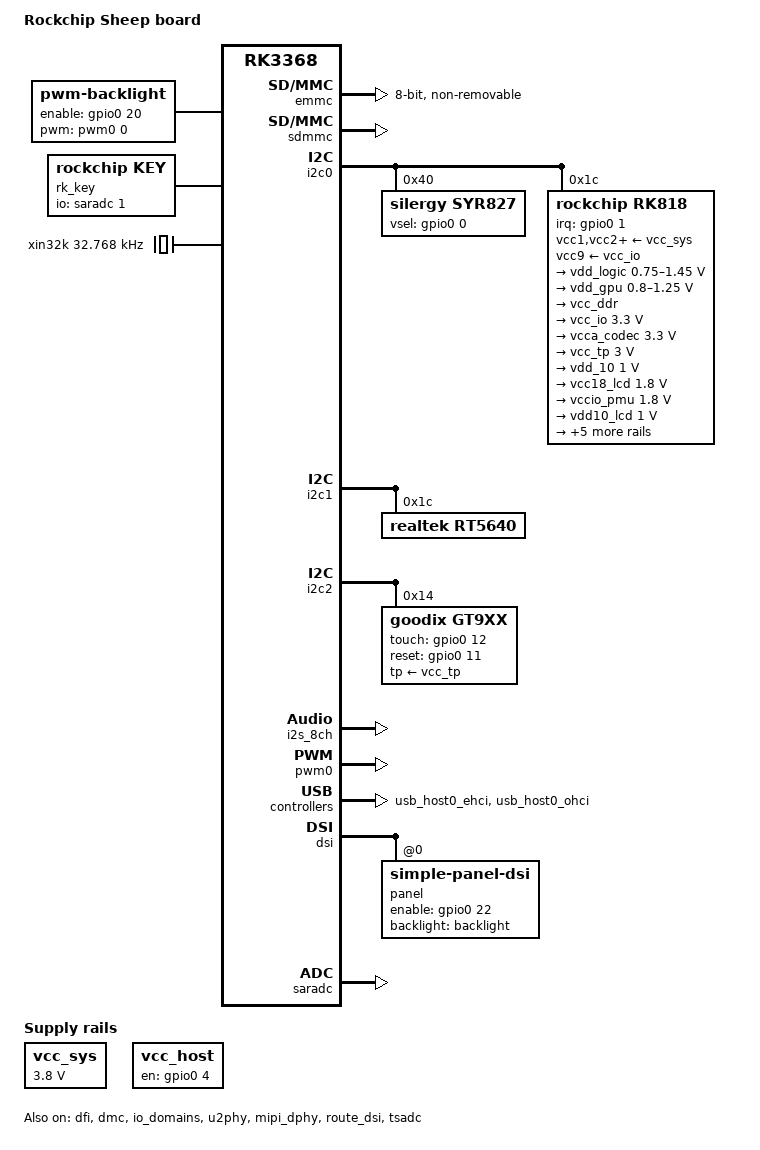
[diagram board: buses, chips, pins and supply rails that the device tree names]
/*
 * Copyright (c) 2017 Fuzhou Rockchip Electronics Co., Ltd
 *
 * This file is dual-licensed: you can use it either under the terms
 * of the GPL or the X11 license, at your option. Note that this dual
 * licensing only applies to this file, and not this project as a
 * whole.
 *
 *  a) This file is free software; you can redistribute it and/or
 *     modify it under the terms of the GNU General Public License as
 *     published by the Free Software Foundation; either version 2 of the
 *     License, or (at your option) any later version.
 *
 *     This file is distributed in the hope that it will be useful,
 *     but WITHOUT ANY WARRANTY; without even the implied warranty of
 *     MERCHANTABILITY or FITNESS FOR A PARTICULAR PURPOSE.  See the
 *     GNU General Public License for more details.
 *
 * Or, alternatively,
 *
 *  b) Permission is hereby granted, free of charge, to any person
 *     obtaining a copy of this software and associated documentation
 *     files (the "Software"), to deal in the Software without
 *     restriction, including without limitation the rights to use,
 *     copy, modify, merge, publish, distribute, sublicense, and/or
 *     sell copies of the Software, and to permit persons to whom the
 *     Software is furnished to do so, subject to the following
 *     conditions:
 *
 *     The above copyright notice and this permission notice shall be
 *     included in all copies or substantial portions of the Software.
 *
 *     THE SOFTWARE IS PROVIDED "AS IS", WITHOUT WARRANTY OF ANY KIND,
 *     EXPRESS OR IMPLIED, INCLUDING BUT NOT LIMITED TO THE WARRANTIES
 *     OF MERCHANTABILITY, FITNESS FOR A PARTICULAR PURPOSE AND
 *     NONINFRINGEMENT. IN NO EVENT SHALL THE AUTHORS OR COPYRIGHT
 *     HOLDERS BE LIABLE FOR ANY CLAIM, DAMAGES OR OTHER LIABILITY,
 *     WHETHER IN AN ACTION OF CONTRACT, TORT OR OTHERWISE, ARISING
 *     FROM, OUT OF OR IN CONNECTION WITH THE SOFTWARE OR THE USE OR
 *     OTHER DEALINGS IN THE SOFTWARE.
 */

/dts-v1/;
#include <dt-bindings/pwm/pwm.h>
#include "rk3368.dtsi"
#include "rk3368-android.dtsi"

/ {
	model = "Rockchip Sheep board";
	compatible = "rockchip,sheep", "rockchip,rk3368";

	sound {
		compatible = "simple-audio-card";
		simple-audio-card,format = "i2s";
		simple-audio-card,name = "rockchip,rt5640-codec";
		simple-audio-card,mclk-fs = <256>;
		simple-audio-card,widgets =
			"Microphone", "Mic Jack",
			"Headphone", "Headphone Jack";
		simple-audio-card,routing =
			"Mic Jack", "MICBIAS1",
			"IN1P", "Mic Jack",
			"Headphone Jack", "HPOL",
			"Headphone Jack", "HPOR";
		simple-audio-card,cpu {
			sound-dai = <&i2s_8ch>;
		};
		simple-audio-card,codec {
			sound-dai = <&rt5640>;
		};
	};

	backlight: backlight {
		compatible = "pwm-backlight";
		pwms = <&pwm0 0 25000 PWM_POLARITY_INVERTED>;
		brightness-levels = <
			135 135 136 136 137 137 138 138
			139 139 140 140 141 141 142 142
			143 143 143 144 144 145 145 146
			146 147 147 148 148 149 149 150
			150 151 151 151 152 152 153 153
			154 154 155 155 156 156 157 157
			158 158 159 159 159 160 160 161
			161 162 162 163 163 164 164 165
			165 166 166 167 167 167 168 168
			169 169 170 170 171 171 172 172
			173 173 174 174 175 175 175 176
			176 177 177 178 178 179 179 180
			180 181 181 182 182 183 183 183
			184 184 185 185 186 186 187 187
			188 188 189 189 190 190 191 191
			191 192 192 193 193 194 194 195
			195 196 196 197 197 198 198 199
			199 199 200 200 201 201 202 202
			203 203 204 204 205 205 206 206
			207 207 207 208 208 209 209 210
			210 211 211 212 212 213 213 214
			214 215 215 215 216 216 217 217
			218 218 219 219 220 220 221 221
			222 222 223 223 223 224 224 225
			225 226 226 227 227 228 228 229
			229 230 230 231 231 231 232 232
			233 233 234 234 235 235 236 236
			237 237 238 238 239 239 239 240
			240 241 241 242 242 243 243 244
			244 245 245 246 246 247 247 247
			248 248 249 249 250 250 251 251
			252 252 253 253 254 254 255 255>;
		default-brightness-level = <200>;
		enable-gpios = <&gpio0 20 GPIO_ACTIVE_HIGH>;
	};

	rk_key: rockchip-key {
		compatible = "rockchip,key";
		status = "okay";

		io-channels = <&saradc 1>;

		vol-up-key {
			linux,code = <115>;
			label = "volume up";
			rockchip,adc_value = <1>;
		};

		vol-down-key {
			linux,code = <114>;
			label = "volume down";
			rockchip,adc_value = <170>;
		};

		power-key {
			gpios = <&gpio0 2 GPIO_ACTIVE_LOW>;
			linux,code = <116>;
			label = "power";
			gpio-key,wakeup;
		};

		menu-key {
			linux,code = <59>;
			label = "menu";
			rockchip,adc_value = <355>;
		};

		home-key {
			linux,code = <102>;
			label = "home";
			rockchip,adc_value = <746>;
		};

		back-key {
			linux,code = <158>;
			label = "back";
			rockchip,adc_value = <560>;
		};

		camera-key {
			linux,code = <212>;
			label = "camera";
			rockchip,adc_value = <450>;
		};
	};

	vcc_sys: vcc-sys {
		compatible = "regulator-fixed";
		regulator-name = "vcc_sys";
		regulator-always-on;
		regulator-boot-on;
		regulator-min-microvolt = <3800000>;
		regulator-max-microvolt = <3800000>;
	};

	vcc_host: vcc-host {
		compatible = "regulator-fixed";
		enable-active-high;
		gpio = <&gpio0 4 GPIO_ACTIVE_HIGH>;
		pinctrl-names = "default";
		pinctrl-0 = <&host_vbus_drv>;
		regulator-name = "vcc_host";
		regulator-always-on;
	};

	xin32k: xin32k {
		compatible = "fixed-clock";
		clock-frequency = <32768>;
		clock-output-names = "xin32k";
		#clock-cells = <0>;
	};
};

&emmc {
	status = "okay";
	bus-width = <8>;
	cap-mmc-highspeed;
	mmc-hs200-1_8v;
	supports-emmc;
	disable-wp;
	non-removable;
	num-slots = <1>;
	pinctrl-names = "default";
	pinctrl-0 = <&emmc_clk &emmc_cmd &emmc_bus8>;
};

&sdmmc {
	status = "okay";
	clock-frequency = <37500000>;
	clock-freq-min-max = <400000 37500000>;
	supports-sd;
	cap-mmc-highspeed;
	cap-sd-highspeed;
	card-detect-delay = <200>;
	disable-wp;
	num-slots = <1>;
	pinctrl-names = "default";
	pinctrl-0 = <&sdmmc_clk &sdmmc_cmd &sdmmc_cd &sdmmc_bus4>;
};

&i2c0 {
	status = "okay";

	syr827: syr827@40 {
		compatible = "silergy,syr827";
		reg = <0x40>;
		status = "okay";

		regulator-compatible = "fan53555-reg";
		regulator-name = "vdd_arm";
		regulator-min-microvolt = <712500>;
		regulator-max-microvolt = <1500000>;
		regulator-ramp-delay = <1000>;
		fcs,suspend-voltage-selector = <1>;
		pinctrl-0 = <&vsel_gpio>;
		vsel-gpios = <&gpio0 0 GPIO_ACTIVE_HIGH>;
		regulator-always-on;
		regulator-boot-on;
		regulator-initial-state = <3>;
		regulator-state-mem {
			regulator-off-in-suspend;
			regulator-suspend-microvolt = <900000>;
		};
	};

	rk818: pmic@1c {
		compatible = "rockchip,rk818";
		reg = <0x1c>;
		status = "okay";

		clock-output-names = "rk818-clkout1", "wifibt_32kin";
		interrupt-parent = <&gpio0>;
		interrupts = <1 IRQ_TYPE_LEVEL_LOW>;
		pinctrl-names = "default";
		pinctrl-0 = <&pmic_int_l>;
		rockchip,system-power-controller;
		wakeup-source;
		#clock-cells = <1>;

		vcc1-supply = <&vcc_sys>;
		vcc2-supply = <&vcc_sys>;
		vcc3-supply = <&vcc_sys>;
		vcc4-supply = <&vcc_sys>;
		vcc6-supply = <&vcc_sys>;
		vcc7-supply = <&vcc_sys>;
		vcc8-supply = <&vcc_sys>;
		vcc9-supply = <&vcc_io>;

		regulators {
			vdd_logic: DCDC_REG1 {
				regulator-name = "vdd_logic";
				regulator-always-on;
				regulator-boot-on;
				regulator-min-microvolt = <750000>;
				regulator-max-microvolt = <1450000>;
				regulator-ramp-delay = <6001>;
				regulator-state-mem {
					regulator-on-in-suspend;
					regulator-suspend-microvolt = <1000000>;
				};
			};

			vdd_gpu: DCDC_REG2 {
				regulator-name = "vdd_gpu";
				regulator-always-on;
				regulator-boot-on;
				regulator-min-microvolt = <800000>;
				regulator-max-microvolt = <1250000>;
				regulator-ramp-delay = <6001>;
				regulator-state-mem {
					regulator-on-in-suspend;
					regulator-suspend-microvolt = <1000000>;
				};
			};

			vcc_ddr: DCDC_REG3 {
				regulator-always-on;
				regulator-boot-on;
				regulator-name = "vcc_ddr";
				regulator-state-mem {
					regulator-on-in-suspend;
				};
			};

			vcc_io: DCDC_REG4 {
				regulator-always-on;
				regulator-boot-on;
				regulator-min-microvolt = <3300000>;
				regulator-max-microvolt = <3300000>;
				regulator-name = "vcc_io";
				regulator-state-mem {
					regulator-on-in-suspend;
					regulator-suspend-microvolt = <3300000>;
				};
			};

			vcca_codec: LDO_REG1 {
				regulator-always-on;
				regulator-boot-on;
				regulator-min-microvolt = <3300000>;
				regulator-max-microvolt = <3300000>;
				regulator-name = "vcca_codec";
				regulator-state-mem {
					regulator-on-in-suspend;
					regulator-suspend-microvolt = <3300000>;
				};
			};

			vcc_tp: LDO_REG2 {
				regulator-boot-on;
				regulator-min-microvolt = <3000000>;
				regulator-max-microvolt = <3000000>;
				regulator-name = "vcc_tp";
				regulator-state-mem {
					regulator-off-in-suspend;
				};
			};

			vdd_10: LDO_REG3 {
				regulator-always-on;
				regulator-boot-on;
				regulator-min-microvolt = <1000000>;
				regulator-max-microvolt = <1000000>;
				regulator-name = "vdd_10";
				regulator-state-mem {
					regulator-on-in-suspend;
					regulator-suspend-microvolt = <1000000>;
				};
			};

			vcc18_lcd: LDO_REG4 {
				regulator-always-on;
				regulator-boot-on;
				regulator-min-microvolt = <1800000>;
				regulator-max-microvolt = <1800000>;
				regulator-name = "vcc18_lcd";
				regulator-state-mem {
					regulator-on-in-suspend;
					regulator-suspend-microvolt = <1800000>;
				};
			};

			vccio_pmu: LDO_REG5 {
				regulator-always-on;
				regulator-boot-on;
				regulator-min-microvolt = <1800000>;
				regulator-max-microvolt = <1800000>;
				regulator-name = "vccio_pmu";
				regulator-state-mem {
					regulator-on-in-suspend;
					regulator-suspend-microvolt = <1800000>;
				};
			};

			vdd10_lcd: LDO_REG6 {
				regulator-always-on;
				regulator-boot-on;
				regulator-min-microvolt = <1000000>;
				regulator-max-microvolt = <1000000>;
				regulator-name = "vdd10_lcd";
				regulator-state-mem {
					regulator-on-in-suspend;
					regulator-suspend-microvolt = <1000000>;
				};
			};

			vcc_18: LDO_REG7 {
				regulator-always-on;
				regulator-boot-on;
				regulator-min-microvolt = <1800000>;
				regulator-max-microvolt = <1800000>;
				regulator-name = "vcc_18";
				regulator-state-mem {
					regulator-on-in-suspend;
					regulator-suspend-microvolt = <1800000>;
				};
			};

			vccio_wl: LDO_REG8 {
				regulator-always-on;
				regulator-boot-on;
				regulator-min-microvolt = <1800000>;
				regulator-max-microvolt = <3300000>;
				regulator-name = "vccio_wl";
				regulator-state-mem {
					regulator-on-in-suspend;
					regulator-suspend-microvolt = <3300000>;
				};
			};

			vccio_sd: LDO_REG9 {
				regulator-always-on;
				regulator-boot-on;
				regulator-min-microvolt = <1800000>;
				regulator-max-microvolt = <3300000>;
				regulator-name = "vccio_sd";
				regulator-state-mem {
					regulator-on-in-suspend;
					regulator-suspend-microvolt = <3300000>;
				};
			};

			vcc_sd: SWITCH_REG {
				regulator-always-on;
				regulator-boot-on;
				regulator-name = "vcc_sd";
				regulator-state-mem {
					regulator-on-in-suspend;
				};
			};

			boost_otg: DCDC_BOOST {
				regulator-name = "boost_otg";
				regulator-always-on;
				regulator-boot-on;
				regulator-min-microvolt = <5000000>;
				regulator-max-microvolt = <5000000>;
				regulator-state-mem {
					regulator-on-in-suspend;
					regulator-suspend-microvolt = <5000000>;
				};
			};
		};

		battery {
			compatible = "rk818-battery";
			pinctrl-names = "default";
			pinctrl-0 = <&dc_irq_gpio>;
			ocv_table = <
				3400 3650 3693 3707 3731 3749 3760
				3770 3782 3796 3812 3829 3852 3882
				3915 3951 3981 4047 4086 4132 4182>;
			design_capacity = <8650>;
			design_qmax = <8800>;
			bat_res = <85>;
			max_input_current = <2000>;
			max_chrg_current = <1800>;
			max_chrg_voltage = <4200>;
			sleep_enter_current = <600>;
			sleep_exit_current = <600>;
			power_off_thresd = <3400>;
			zero_algorithm_vol = <3850>;
			fb_temperature = <115>;
			sample_res = <10>;
			max_soc_offset = <60>;
			energy_mode = <0>;
			monitor_sec = <5>;
			virtual_power = <0>;
			power_dc2otg = <1>;
			support_usb_adp = <1>;
			support_dc_adp = <1>;
			dc_det_gpio = <&gpio0 17 GPIO_ACTIVE_LOW>;
		};
	};
};

&cpu_l0 {
	cpu-supply = <&syr827>;
};

&cpu_l1 {
	cpu-supply = <&syr827>;
};

&cpu_l2 {
	cpu-supply = <&syr827>;
};

&cpu_l3 {
	cpu-supply = <&syr827>;
};

&cpu_b0 {
	cpu-supply = <&syr827>;
};

&cpu_b1 {
	cpu-supply = <&syr827>;
};

&cpu_b2 {
	cpu-supply = <&syr827>;
};

&cpu_b3 {
	cpu-supply = <&syr827>;
};

&dfi {
	status = "okay";
};

&dmc {
	center-supply = <&vdd_logic>;
	status = "okay";
};

&gpu {
	logic-supply = <&vdd_logic>;
};

&rockchip_suspend {
	status = "okay";
};

&i2c1 {
	status = "okay";

	rt5640: rt5640@1c {
		compatible = "realtek,rt5640";
		reg = <0x1c>;
		#sound-dai-cells = <0>;
		clocks = <&cru SCLK_I2S_8CH_OUT>;
		clock-names = "mclk";
		pinctrl-names = "default";
		pinctrl-0 = <&i2s_8ch_mclk>;
		realtek,in1-differential;
		status = "okay";
	};
};

&i2c2 {
	status = "okay";

	gt9xx: gt9xx@14 {
		compatible = "goodix,gt9xx";
		reg = <0x14>;
		touch-gpio = <&gpio0 12 IRQ_TYPE_LEVEL_LOW>;
		reset-gpio = <&gpio0 11 GPIO_ACTIVE_HIGH>;
		max-x = <1200>;
		max-y = <1900>;
		tp-size = <911>;
		tp-supply = <&vcc_tp>;
		status = "okay";
	};
};

&i2s_8ch {
	status = "okay";
	rockchip,i2s-broken-burst-len;
	rockchip,playback-channels = <8>;
	rockchip,capture-channels = <2>;
	#sound-dai-cells = <0>;
};

&io_domains {
	status = "okay";
	dvp-supply = <&vcc_18>;
	audio-supply = <&vcc_io>;
	gpio30-supply = <&vcc_io>;
	gpio1830-supply = <&vcc_io>;
	sdcard-supply = <&vccio_sd>;
	wifi-supply = <&vccio_wl>;
};

&pmu_io_domains {
	status = "okay";

	pmu-supply = <&vcc_io>;
	vop-supply = <&vcc_io>;
};

&pwm0 {
	status = "okay";
};

&u2phy {
	status = "okay";

	u2phy_host: host-port {
		phy-supply = <&vcc_host>;
		status = "okay";
	};
};

&usb_host0_ehci {
	status = "okay";
};

&usb_host0_ohci {
	status = "okay";
};

&mailbox {
	status = "okay";
};

&mailbox_scpi {
	status = "okay";
};

&dsi {
	status = "okay";

	panel@0 {
		compatible = "simple-panel-dsi";
		reg = <0>;
		backlight = <&backlight>;
		enable-gpios = <&gpio0 22 GPIO_ACTIVE_HIGH>;

		dsi,flags = <(MIPI_DSI_MODE_VIDEO | MIPI_DSI_MODE_VIDEO_BURST)>;
		dsi,format = <MIPI_DSI_FMT_RGB888>;
		dsi,lanes = <4>;

		prepare-delay-ms = <120>;

		display-timings {
			native-mode = <&timing0>;

			timing0: timing0 {
				clock-frequency = <150000000>;
				hactive = <1200>;
				vactive = <1920>;
				hback-porch = <80>;
				hfront-porch = <81>;
				vback-porch = <21>;
				vfront-porch = <21>;
				hsync-len = <10>;
				vsync-len = <3>;
				hsync-active = <0>;
				vsync-active = <0>;
				de-active = <0>;
				pixelclk-active = <0>;
			};
		};
	};
};

&mipi_dphy {
	status = "okay";
};

&route_dsi {
	status = "okay";
};

&saradc {
	status = "okay";
};

&tsadc {
	tsadc-supply = <&syr827>;
	status = "okay";
};

&pinctrl {
	pmic {
		pmic_int_l: pmic-int-l {
			rockchip,pins = <RK_GPIO0 1 RK_FUNC_GPIO &pcfg_pull_up>;
		};
		vsel_gpio: vsel-gpio {
			rockchip,pins = <0 0 RK_FUNC_GPIO &pcfg_pull_down>;
		};
	};

	dc_det {
		dc_irq_gpio: dc-irq-gpio {
			rockchip,pins = <0 17 RK_FUNC_GPIO &pcfg_pull_up>;
		};
	};

	usb2 {
		host_vbus_drv: host-vbus-drv {
			rockchip,pins = <RK_GPIO0 4 RK_FUNC_GPIO &pcfg_pull_none>;
		};
	};
};
